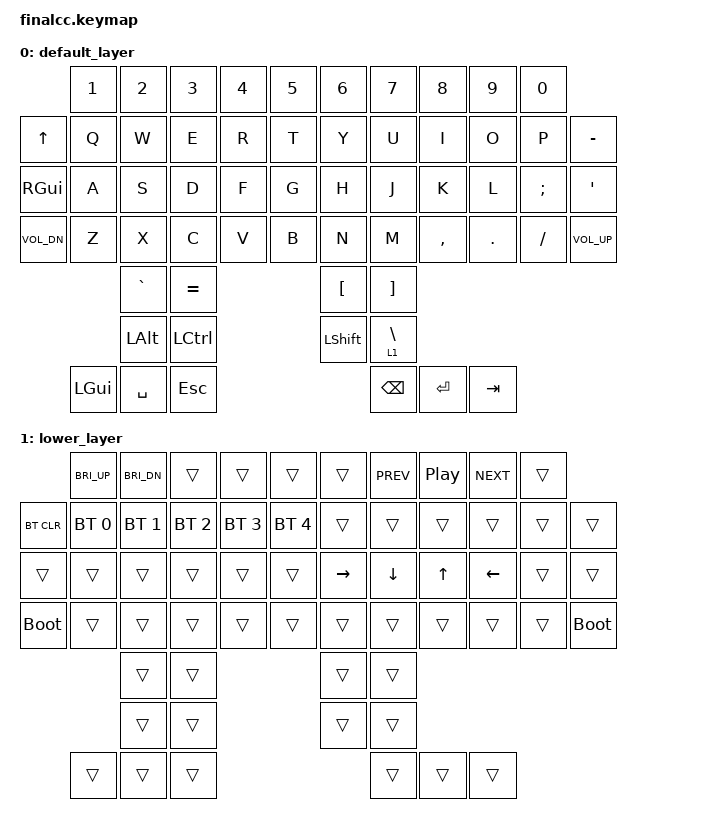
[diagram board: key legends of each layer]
#include <behaviors.dtsi>
#include <dt-bindings/zmk/keys.h>
#include <dt-bindings/zmk/bt.h>

/ {
    keymap {
        compatible = "zmk,keymap";

        // ------------------------------------------------------------------------------------------------------------
        //         |  1    |  2    |  3     |  4    |  5   |           |  6     |  7      |  8    |  9   |  0   |
        // |  UP   |  Q    |  W    |  E     |  R    |  T   |           |  Y     |  U      |  I    |  O   |  P   |   -   |
        // | RGUI  |  A    |  S    |  D     |  F    |  G   |           |  H     |  J      |  K    |  L   |  ;   |   '   |
        // | VOLDN |  Z    |  X    |  C     |  V    |  B   |           |  N     |  M      |  ,    |  .   |  /   | VOLUP |
        //         |  `    |  =    |                                   |  [     |  ]      |
        //                 | ALT   | CTRL   |                          | SHIFT  | LT BSLH |
        //         | CMD   | SPACE | ESCAPE |                          | BSPC   | ENTER   | TAB |
        // ------------------------------------------------------------------------------------------------------------

        default_layer {
            bindings = <
                         &kp N1   &kp N2    &kp N3     &kp N4 &kp N5        &kp N6     &kp N7        &kp N8     &kp N9  &kp N0
            &kp UP       &kp Q    &kp W     &kp E      &kp R  &kp T         &kp Y      &kp U         &kp I      &kp O   &kp P    &kp MINUS
            &kp RGUI     &kp A    &kp S     &kp D      &kp F  &kp G         &kp H      &kp J         &kp K      &kp L   &kp SEMI &kp SQT
            &kp C_VOL_DN &kp Z    &kp X     &kp C      &kp V  &kp B         &kp N      &kp M         &kp COMMA  &kp DOT &kp FSLH &kp C_VOL_UP
                                  &kp GRAVE &kp EQUAL                       &kp LBKT   &kp RBKT
                                  &kp LALT  &kp LCTRL                       &kp LSHIFT &lt 1 BSLH
                         &kp LGUI &kp SPACE &kp ESCAPE                                 &kp BACKSPACE &kp RETURN &kp TAB
            >;
        };

        // ------------------------------------------------------------------------------------------------------------
        //           |  1    |  2    |  3      |  4    |  5   |           |  6     |  PREV  |  PP   |  NEXT |  0   |
        // |  BTLCLR |  BT1  |  BT2  |  BT3    |  BT4  |  BT5 |           |  Y     |  U     |  I    |  O    |  P   |   -   |
        // | RGUI    |  A    |  S    |  D      |  F    |  G   |           |  RIGHT |  DOWN  |  UP   |  LEFT |  ;   |   '   |
        // | BOOTL   |  Z    |  X    |  C      |  V    |  B   |           |  N     |  M     |  ,    |  .    |  /   | BOOTL |
        //           |  `    |  =    |                                    |  [     |  ]     |
        //                   | ESC  | LALT      |                         | RCTRL  |  BSLH  |
        //           | LSHIFT | LGUI | SPACE   |                          | BSPC   |  ENTER | TAB   |
        // ------------------------------------------------------------------------------------------------------------

        lower_layer {
            bindings = <
                       &kp C_BRI_UP &kp C_BRI_DN  &trans       &trans       &trans            &trans          &kp C_PREV     &kp C_PP     &kp C_NEXT     &trans
            &bt BT_CLR &bt BT_SEL 0 &bt BT_SEL 1  &bt BT_SEL 2 &bt BT_SEL 3 &bt BT_SEL 4      &trans          &trans         &trans       &trans         &trans &trans
            &trans      &trans    &trans     &trans    &trans  &trans                         &kp RIGHT_ARROW &kp DOWN_ARROW &kp UP_ARROW &kp LEFT_ARROW &trans &trans
            &bootloader &trans    &trans     &trans    &trans  &trans                         &trans          &trans         &trans       &trans         &trans &bootloader
                                  &trans     &trans                                           &trans          &trans
                                  &trans     &trans                                           &trans          &trans
                                  &trans    &trans     &trans                                 &trans          &trans         &trans
            >;
        };
    };
};
